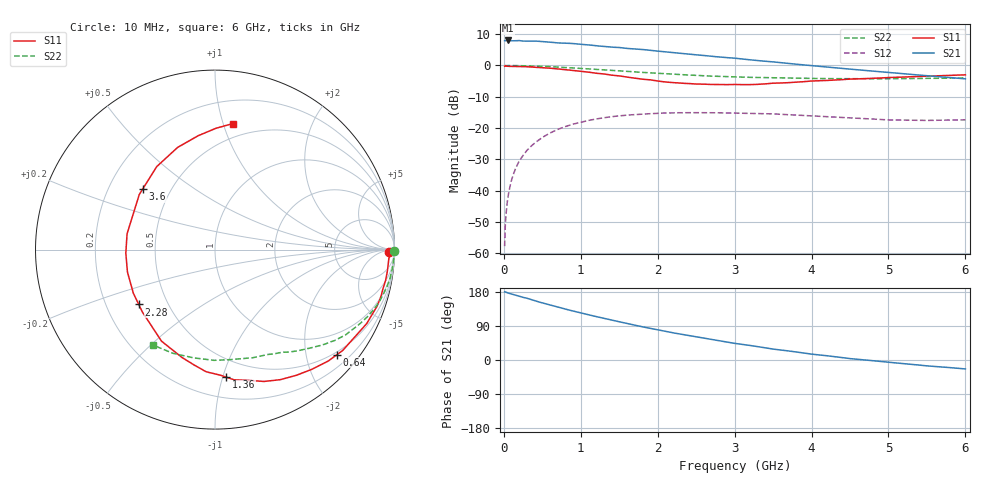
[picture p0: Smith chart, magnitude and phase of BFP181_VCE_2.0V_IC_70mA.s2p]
! Infineon Technologies  Discrete & RF Semiconductors
! BFP181
! VCE = 2.0 V,  IC =  70 mA
! Common Emitter S-Parameters:  Jan 2016
# GHz  S  MA  R  50
!  f  S11  S21  S12  S22
! GHz  MAG  ANG  MAG  ANG  MAG  ANG  MAG  ANG
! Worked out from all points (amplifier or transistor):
!   210 points, 10 MHz to 6 GHz, reference 50 ohm
!   highest |S21| = 8.0 dB at 50 MHz (marker M1)
!   |S21| within 3 dB of that: start of sweep to 1.849 GHz
!   unconditionally stable (mu >= 1): 3.38 GHz to end of sweep
!   at 185 MHz: K = 0.07, MSG = 19.6 dB, |S12| = -31.2 dB
!   at 1.52 GHz: K = 0.49, MSG = 10.9 dB, |S12| = -16.0 dB
!   at 6 GHz: K = 1.39, MAG = 2.8 dB, |S12| = -17.4 dB
!   S11 on the Smith chart (normalised r, x): 10 MHz: 59, -26; 640 MHz: 0.44, -2.63; 1.36 GHz: 0.35, -1.03; 2.28 GHz: 0.34, -0.29; 3.6 GHz: 0.35, +0.32; 6 GHz: 0.38, +1.08
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0.01  0.972 -0.7  2.488 179.8  0.0013 92.0  0.9988 -0.3
0.02  0.9782 -1.3  2.491 179.5  0.003 82.2  0.993 -0.5
0.03  0.9754 -1.8  2.497 178.7  0.0044 86.2  0.9945 -0.9
0.05  0.97 -2.9  2.511 177.1  0.0073 89.5  0.9977 -1.6
0.085  0.9686 -5.3  2.488 175.1  0.0125 85.5  0.9972 -2.6
0.12  0.9673 -7.8  2.479 173.0  0.0177 83.7  0.996 -3.7
0.22  0.9605 -14.3  2.48 167.1  0.0324 80.3  0.992 -6.8
0.4  0.9405 -26.0  2.463 156.4  0.0575 72.5  0.9799 -12.2
0.64  0.8968 -40.7  2.334 143.2  0.0881 62.1  0.9531 -19.1
0.86  0.8424 -54.7  2.256 131.2  0.1117 53.1  0.9212 -24.8
1.02  0.8046 -64.6  2.171 123.2  0.1258 47.1  0.895 -28.9
1.36  0.7133 -85.0  1.982 107.3  0.1497 35.8  0.8427 -36.5
1.7  0.6285 -107.0  1.844 92.1  0.1645 26.3  0.789 -42.8
2.02  0.561 -127.2  1.687 78.8  0.1729 18.7  0.7477 -47.9
2.28  0.5234 -144.3  1.572 69.0  0.1759 13.0  0.7179 -52.2
2.64  0.5005 -168.0  1.429 56.3  0.176 6.5  0.6802 -57.5
3.1  0.4943 164.5  1.269 41.2  0.1725 -0.9  0.6506 -64.6
3.6  0.5255 140.0  1.109 26.4  0.1662 -6.4  0.6333 -72.6
4.1  0.57 121.9  0.971 13.4  0.1548 -10.6  0.6188 -82.2
4.5  0.6062 110.1  0.875 3.7  0.1459 -12.5  0.6171 -90.5
5.1  0.6471 96.5  0.756 -7.8  0.1346 -11.1  0.6147 -103.3
6  0.7092 81.9  0.612 -23.6  0.1356 -5.5  0.6345 -123.1
